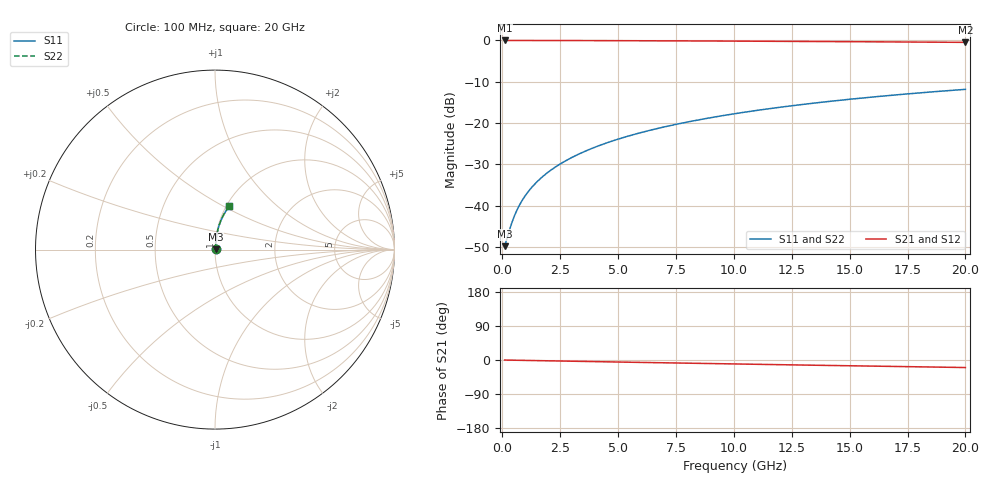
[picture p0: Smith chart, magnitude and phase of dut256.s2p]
! Touchstone file exported from HFSS 2024.1.0
!  File:  C:/UserFiles/LocalFiles/RDL_TSV_Batchsim/temp_RDL_bottom_256_1778701912.aedt
!  Generated:  03:54:57 AM May 14, 2026
!  Design:  RDL_bottom
!  Project:  temp_RDL_bottom_256_1778701912
!  Setup:  Setup1
!  Solution:  Sweep
! Variables:
!  dtsv = 10.80580581um
!  hbump = 3um
!  htsv = 51.41um
!  ldown = 217.82um
!  lrdl = 100um
!  p = 40
!  p1 = 44.29um
!  rhole = 1um
!  t = 450um
!  tdown = 2.18um
!  trdl = 3.915915916um
!  wdown = 13.19um
!  wrdl = 20um
# GHz S MA R 50.000000
! Terminal data exported
! Port[1] = RDL1_T1
! Port[2] = RDL1_T2
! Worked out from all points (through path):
!   200 points, 100 MHz to 20 GHz, reference 50 ohm
!   highest |S21| = -0.03 dB at 100 MHz (marker M1); lowest = -0.5 dB at 20 GHz (marker M2)
!   group delay of S21, straight-line fit = 2.75 ps
!   lowest |S11| = -49.8 dB at 100 MHz (marker M3), VSWR 1.01, Z = 50.3 + j0.133 ohm
!   |S11| at or under -10 dB: start of sweep to end of sweep
!   |S22| runs from -49.8 to -11.9 dB; largest |S21 - S12| = 2.6e-15
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0.1  0.003244 24.1  0.997 -0.1  0.997 -0.1  0.003244 24.1
! Gamma 0 0 0 0
! Port Impedance 50 0 50 0
0.4  0.006086 59.7  0.9969 -0.4  0.9969 -0.4  0.006086 59.7
0.5  0.007254 64.5  0.9968 -0.6  0.9968 -0.6  0.007254 64.5
0.6  0.008449 67.9  0.9968 -0.7  0.9968 -0.7  0.008449 67.9
0.7  0.00966 70.4  0.9967 -0.8  0.9967 -0.8  0.00966 70.4
0.9  0.0121 73.9  0.9966 -1.0  0.9966 -1.0  0.0121 73.9
1.2  0.01579 77.1  0.9963 -1.3  0.9963 -1.3  0.01579 77.1
1.4  0.01826 78.5  0.9962 -1.5  0.9962 -1.5  0.01826 78.5
1.7  0.02198 80.0  0.9959 -1.9  0.9959 -1.9  0.02198 80.0
2.2  0.02822 81.6  0.9954 -2.4  0.9954 -2.4  0.02822 81.6
2.8  0.03577 82.6  0.9948 -3.0  0.9948 -3.0  0.03577 82.6
3.5  0.04464 83.3  0.9938 -3.8  0.9938 -3.8  0.04464 83.3
4.2  0.05358 83.5  0.9928 -4.5  0.9928 -4.5  0.05358 83.5
5  0.06387 83.6  0.9913 -5.3  0.9913 -5.3  0.06387 83.5
5.9  0.07552 83.3  0.9896 -6.3  0.9896 -6.3  0.07552 83.3
6.8  0.08725 82.9  0.9876 -7.2  0.9876 -7.2  0.08725 82.9
8.3  0.1069 82.1  0.9839 -8.7  0.9839 -8.7  0.1069 82.1
10.1  0.1305 80.7  0.979 -10.5  0.979 -10.5  0.1305 80.7
11.7  0.1514 79.4  0.9744 -12.1  0.9744 -12.1  0.1514 79.4
13.4  0.1734 77.9  0.969 -13.7  0.969 -13.7  0.1734 77.9
16.7  0.2153 74.8  0.9578 -16.8  0.9578 -16.8  0.2153 74.8
20  0.2556 71.7  0.9456 -19.9  0.9456 -19.9  0.2556 71.7
